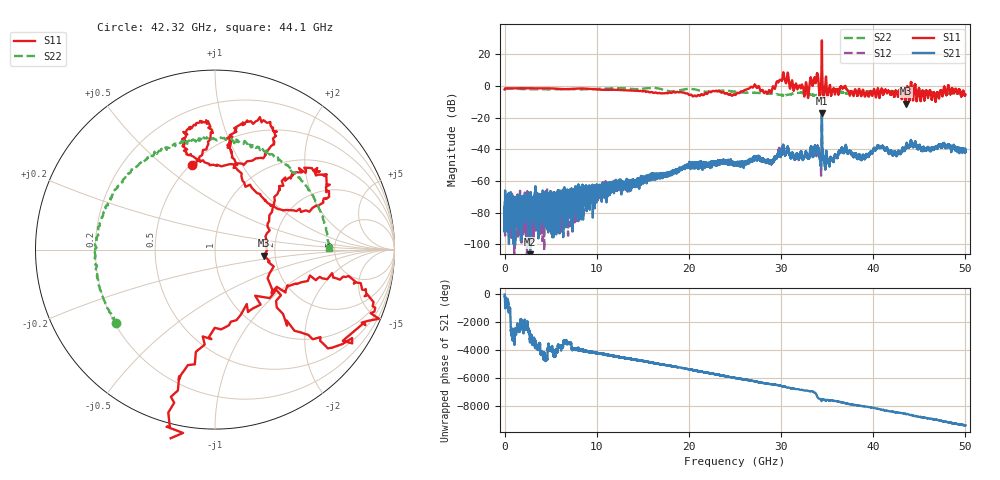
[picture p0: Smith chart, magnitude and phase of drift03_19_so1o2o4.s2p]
!Created with skrf (http://scikit-rf.org).
# Hz S RI R 50.0
!freq ReS11 ImS11 ReS21 ImS21 ReS12 ImS12 ReS22 ImS22
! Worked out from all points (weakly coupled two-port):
!   10000 points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, 5.3 MHz to 50 GHz, reference 50 ohm
!   highest |S21| = -17.11 dB at 34.43 GHz (marker M1); lowest = -111.8 dB at 2.78 GHz (marker M2)
!   lowest |S11| = -11.2 dB at 43.53 GHz (marker M3), VSWR 1.76, Z = 87.5 - j6.45 ohm
!   |S11| at or under -10 dB: 43.50158 GHz to 43.54179 GHz (40.2 MHz wide, 0.0924 % of centre)
!   |S22| runs from -5.8 to -1.1 dB; largest |S21 - S12| = 0.035
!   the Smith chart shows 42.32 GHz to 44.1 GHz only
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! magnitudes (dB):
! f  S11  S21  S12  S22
! 5.3 MHz  -2.1  -76.7  -80.2  -1.3
! 2.78 GHz  -1.4  -111.8  -84.3  -2.0
! 8.34 GHz  -1.5  -78.0  -65.9  -2.1
! 16.67 GHz  -4.4  -56.5  -56.5  -1.5
! 20.27 GHz  -5.5  -50.0  -51.0  -1.8
! 25.01 GHz  -5.5  -49.8  -48.9  -3.5
! 27.02 GHz  -0.4  -45.5  -45.8  -4.3
! 28.72 GHz  -2.5  -48.3  -47.3  -4.5
! 30.14 GHz  4.3  -40.2  -40.5  -5.7
! 32.74 GHz  2.0  -42.3  -42.0  -4.6
! 33.34 GHz  2.6  -40.0  -40.3  -5.6
! 33.82 GHz  3.9  -41.5  -42.3  -5.7
! 34.43 GHz  28.9  -17.1  -18.7  -4.6
! 35.34 GHz  -0.4  -45.7  -45.7  -3.3
! 36.85 GHz  -0.6  -42.0  -41.0  -4.2
! 38.86 GHz  -2.8  -43.8  -44.4  -3.2
! 40.58 GHz  -3.3  -37.8  -38.5  -4.0
! 41.67 GHz  -3.1  -41.9  -42.3  -3.3
! 43.53 GHz  -11.2  -38.7  -39.0  -4.2
! 46.94 GHz  -4.1  -38.6  -38.6  -4.8
! 48.32 GHz  -4.6  -38.5  -37.7  -4.6
! 50 GHz  -5.3  -41.0  -40.2  -4.5
